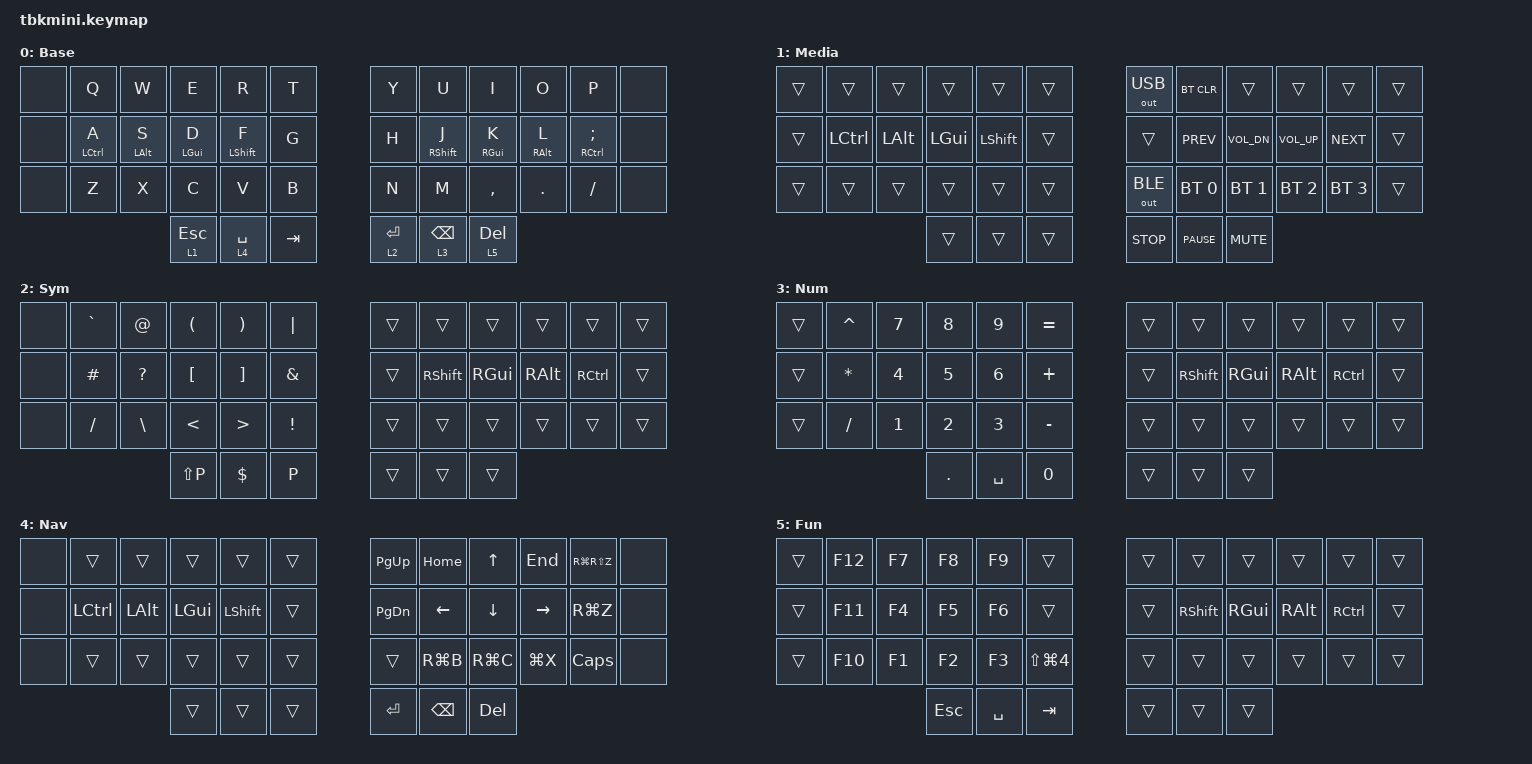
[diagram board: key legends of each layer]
#include <behaviors.dtsi>
#include <dt-bindings/zmk/keys.h>
#include <dt-bindings/zmk/bt.h>
#include <dt-bindings/zmk/ext_power.h>
#include <dt-bindings/zmk/outputs.h>

&mt {
    tapping-term-ms = <400>;
};

/ {
    chosen {
      zmk,battery = &vbatt;
    };

    vbatt: vbatt {
      compatible = "zmk,battery-nrf-vddh";
      label = "VBATT";
    };

    behaviors {
        colemak_language: colemak_language {
            compatible = "zmk,behavior-tap-dance";
            label = "COLEMAK_LANGUAGE";
            #binding-cells = <0>;
            bindings =
                <&kp LA(LC(LG(P)))>,
                <&kp LA(LC(LG(O)))>;
        };
        lhht: left-hand-hold-tap {
            compatible = "zmk,behavior-hold-tap";
            label = "LEFT_HOLD_TAP";
            bindings =
                <&kp>,
                <&kp>;

            #binding-cells = <2>;
            tapping-term-ms = <200>;
            flavor = "tap-preferred";
            quick-tap-ms = <125>;
            global-quick-tap;
            hold-trigger-key-positions = <6 7 8 10 9 11 23 22 21 20 19 18 30 31 32 33 34 35 39 40 41>;
        };
        rhht: rhht {
            compatible = "zmk,behavior-hold-tap";
            label = "RHHT";
            bindings =
                <&kp>,
                <&kp>;

            #binding-cells = <2>;
            tapping-term-ms = <200>;
            quick-tap-ms = <125>;
            flavor = "tap-preferred";
            global-quick-tap;
            hold-trigger-key-positions = <5 4 3 2 1 13 25 26 27 28 29 17 16 15 14 0 12 24 38 37 36>;
        };
    };

    combos {
        compatible = "zmk,combos";

        lang_switch {
            bindings = <&kp LC(SPACE)>;
            key-positions = <25 13>;
        };

        kp_bslh {
            bindings = <&kp BACKSLASH>;
            key-positions = <1 13>;
        };

        kp_lbkt {
            bindings = <&kp LBKT>;
            key-positions = <10 22>;
        };

        kp_apos {
            bindings = <&kp APOS>;
            key-positions = <22 34>;
        };

        kp_rbkt {
            bindings = <&kp RBKT>;
            key-positions = <21 9>;
        };
    };

    keymap {
        compatible = "zmk,keymap";

        Base {
            // -----------------------------------------------------------------------------------------
            // |  TAB |  Q  |  W  |  E  |  R  |  T  |   |  Y  |  U   |  I  |  O  |  P  | BKSP |
            // | CTRL |  A  |  S  |  D  |  F  |  G  |   |  H  |  J   |  K  |  L  |  ;  |  '   |
            // | SHFT |  Z  |  X  |  C  |  V  |  B  |   |  N  |  M   |  ,  |  .  |  /  | ESC  |
            //                    | GUI | LWR | SPC |   | ENT | RSE  | ALT |

            bindings = <
&none          &kp Q             &kp W         &kp E               &kp R    &kp T          &kp Y                &kp U              &kp I              &kp O                  &kp P  &none
&none  &lhht LCTRL A  &lhht LEFT_ALT S  &lhht LGUI D  &lhht LEFT_SHIFT F    &kp G          &kp H  &rhht RIGHT_SHIFT J  &rhht RIGHT_GUI K  &rhht RIGHT_ALT L  &rhht RCTRL SEMICOLON  &none
&none          &kp Z             &kp X         &kp C               &kp V    &kp B          &kp N                &kp M          &kp COMMA            &kp DOT               &kp FSLH  &none
                                        &lt 1 ESCAPE         &lt 4 SPACE  &kp TAB    &lt 2 ENTER      &lt 3 BACKSPACE       &lt 5 DELETE
            >;
        };

        Media {
            // -----------------------------------------------------------------------------------------
            // |  TAB |  1  |  2  |  3  |  4  |  5  |   |  6  |  7  |  8  |  9  |  0  | BKSP |
            // | BTCLR| BT1 | BT2 | BT3 | BT4 | BT5 |   | LFT | DWN |  UP | RGT |     |      |
            // | SHFT |     |     |     |     |     |   |     |     |     |     |     |      |
            //                    | GUI |     | SPC |   | ENT |     | ALT |

            bindings = <
&trans            &trans        &trans        &trans          &trans  &trans    &out OUT_USB    &bt BT_CLR        &trans           &trans        &trans  &trans
&trans  &kp LEFT_CONTROL  &kp LEFT_ALT  &kp LEFT_GUI  &kp LEFT_SHIFT  &trans          &trans    &kp C_PREV  &kp C_VOL_DN  &kp C_VOLUME_UP    &kp C_NEXT  &trans
&trans            &trans        &trans        &trans          &trans  &trans    &out OUT_BLE  &bt BT_SEL 0  &bt BT_SEL 1     &bt BT_SEL 2  &bt BT_SEL 3  &trans
                                              &trans          &trans  &trans      &kp C_STOP   &kp C_PAUSE    &kp C_MUTE
            >;
        };

        Sym {
            // -----------------------------------------------------------------------------------------
            // |  TAB |  !  |  @  |  #  |  $  |  %  |   |  ^  |  &  |  *  |  (  |  )  | BKSP |
            // | CTRL |     |     |     |     |     |   |  -  |  =  |  [  |  ]  |  \  |  `   |
            // | SHFT |     |     |     |     |     |   |  _  |  +  |  {  |  }  | "|" |  ~   |
            //                    | GUI |     | SPC |   | ENT |     | ALT |

            bindings = <
&none  &kp GRAVE    &kp AT_SIGN  &kp LEFT_PARENTHESIS  &kp RIGHT_PARENTHESIS         &kp PIPE    &trans           &trans         &trans         &trans             &trans  &trans
&none   &kp HASH   &kp QUESTION      &kp LEFT_BRACKET      &kp RIGHT_BRACKET    &kp AMPERSAND    &trans  &kp RIGHT_SHIFT  &kp RIGHT_GUI  &kp RIGHT_ALT  &kp RIGHT_CONTROL  &trans
&none  &kp SLASH  &kp BACKSLASH         &kp LESS_THAN       &kp GREATER_THAN  &kp EXCLAMATION    &trans           &trans         &trans         &trans             &trans  &trans
                                            &kp LS(P)             &kp DOLLAR            &kp P    &trans           &trans         &trans
            >;
        };

        Num {
            bindings = <
&trans     &kp CARET  &kp NUMBER_7  &kp NUMBER_8  &kp NUMBER_9  &kp EQUAL    &trans           &trans         &trans         &trans             &trans  &trans
&trans  &kp ASTERISK  &kp NUMBER_4  &kp NUMBER_5  &kp NUMBER_6   &kp PLUS    &trans  &kp RIGHT_SHIFT  &kp RIGHT_GUI  &kp RIGHT_ALT  &kp RIGHT_CONTROL  &trans
&trans     &kp SLASH  &kp NUMBER_1  &kp NUMBER_2  &kp NUMBER_3  &kp MINUS    &trans           &trans         &trans         &trans             &trans  &trans
                                         &kp DOT     &kp SPACE     &kp N0    &trans           &trans         &trans
            >;
        };

        Nav {
            bindings = <
&none     &trans        &trans        &trans          &trans  &trans      &kp PAGE_UP       &kp HOME      &kp UP    &kp END  &kp RG(RS(Z))  &none
&none  &kp LCTRL  &kp LEFT_ALT  &kp LEFT_GUI  &kp LEFT_SHIFT  &trans    &kp PAGE_DOWN       &kp LEFT    &kp DOWN  &kp RIGHT      &kp RG(Z)  &none
&none     &trans        &trans        &trans          &trans  &trans           &trans      &kp RG(B)   &kp RG(C)  &kp LG(X)       &kp CAPS  &none
                                      &trans          &trans  &trans        &kp ENTER  &kp BACKSPACE  &kp DELETE
            >;
        };

        Fun {
            bindings = <
&trans  &kp F12  &kp F7      &kp F8     &kp F9                &trans    &trans           &trans         &trans         &trans             &trans  &trans
&trans  &kp F11  &kp F4      &kp F5     &kp F6                &trans    &trans  &kp RIGHT_SHIFT  &kp RIGHT_GUI  &kp RIGHT_ALT  &kp RIGHT_CONTROL  &trans
&trans  &kp F10  &kp F1      &kp F2     &kp F3  &kp LS(LG(NUMBER_4))    &trans           &trans         &trans         &trans             &trans  &trans
                         &kp ESCAPE  &kp SPACE               &kp TAB    &trans           &trans         &trans
            >;
        };
    };
};
